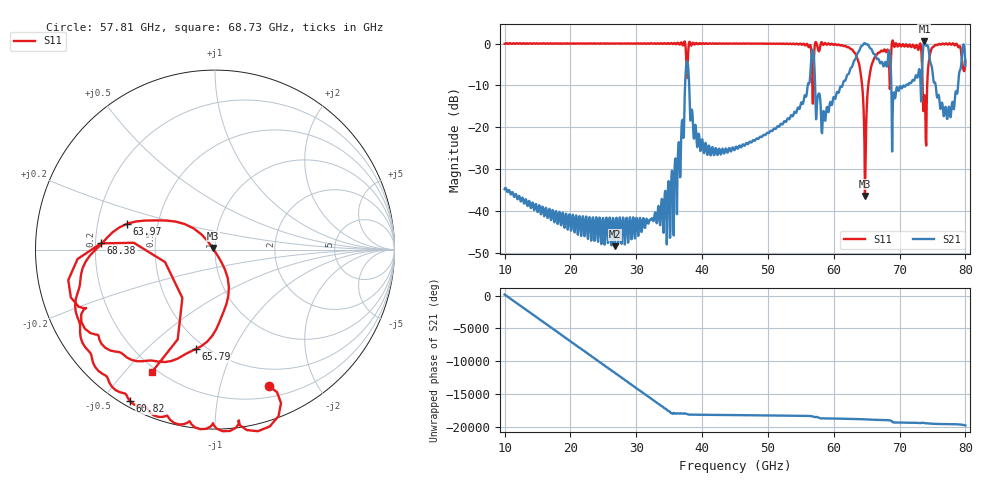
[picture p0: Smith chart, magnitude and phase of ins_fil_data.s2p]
! TOUCHSTONE file generated by CST MICROWAVE STUDIO
# GHZ S MA R 50
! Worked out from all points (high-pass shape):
!   1001 points, 10 GHz to 80 GHz, reference 50 ohm
!   highest |S21| = 0.52 dB at 73.77 GHz (marker M1); lowest = -48.4 dB at 26.73 GHz (marker M2)
!   |S21| within 3 dB of the highest: 63.57 GHz to 66.08 GHz (2.506 GHz wide, 3.87 % of centre); 73.53 GHz to 74.5 GHz (965.1 MHz wide, 1.3 % of centre)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
!   lowest |S11| = -36.4 dB at 64.74 GHz (marker M3), VSWR 1.03, Z = 48.8 + j0.816 ohm
!   |S11| at or under -10 dB: 56.75061 GHz to 56.88209 GHz (131.5 MHz wide, 0.231 % of centre); 64.31 GHz to 65.24 GHz (928.8 MHz wide, 1.43 % of centre); 73.5 GHz to 74.2 GHz (699.7 MHz wide, 0.948 % of centre)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
!   S12 and S22 are empty: the file has one direction only
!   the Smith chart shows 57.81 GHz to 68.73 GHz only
!   S11 on the Smith chart (normalised r, x): 57.81 GHz: 0.31, -1.42; 60.82 GHz: 0.02, -0.59; 63.97 GHz: 0.33, +0.13; 65.79 GHz: 0.44, -0.72; 68.38 GHz: 0.22, +0.03; 68.73 GHz: 0.18, -0.60
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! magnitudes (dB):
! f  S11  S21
! 10 GHz  -0.1  -34.8
! 21.69 GHz  0.0  -45.2
! 26.73 GHz  0.0  -48.4
! 33.38 GHz  0.0  -38.8
! 35.9 GHz  0.1  -27.7
! 37.72 GHz  -8.2  -4.3
! 39.54 GHz  0.0  -21.7
! 45 GHz  0.0  -25.2
! 54.03 GHz  -0.1  -16.3
! 56.69 GHz  -5.7  -2.0
! 57.81 GHz  -1.7  -12.0
! 60.82 GHz  -0.3  -11.4
! 63.97 GHz  -5.9  -1.3
! 64.74 GHz  -36.4  0.1
! 65.79 GHz  -5.0  -1.5
! 68.38 GHz  -3.9  -1.8
! 68.73 GHz  -2.3  -9.0
! 72.93 GHz  -1.2  -6.4
! 73.77 GHz  -12.3  0.5
! 74.82 GHz  -1.4  -5.1
! 76.99 GHz  0.0  -15.1
! 80 GHz  -4.1  -5.3
